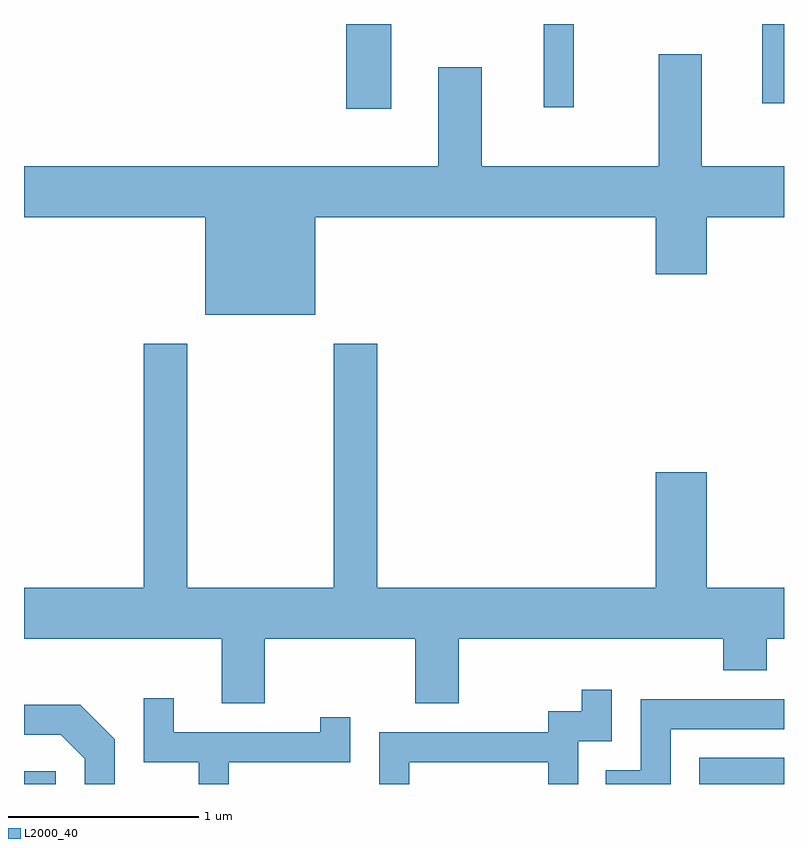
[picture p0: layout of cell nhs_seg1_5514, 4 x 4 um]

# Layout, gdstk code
import gdstk
lib = gdstk.Library(unit=1e-6, precision=1e-09)
def R(c, l, rs):  # rectangles x0, y0, x1, y1
    for r in rs: c.add(gdstk.rectangle(r[:2], r[2:], *l))
def P(c, l, *ps):  # polygons
    for p in ps: c.add(gdstk.Polygon(p, *l))
L2000_40 = (2000, 40)

nhs_seg1_5514 = lib.new_cell('nhs_seg1_5514')
R(nhs_seg1_5514, L2000_40, [(351.611,887.712,351.779,887.779), (355.166,887.712,355.611,887.849), (353.306,891.266,353.544,891.712), (354.346,891.273,354.504,891.712), (355.496,891.296,355.611,891.712)])
P(nhs_seg1_5514, L2000_40, [(353.144,890.696),(354.936,890.696),(354.936,890.396),(355.204,890.396),(355.204,890.696),(355.611,890.696),(355.611,890.964),(355.179,890.964),(355.179,891.554),(354.951,891.554),(354.951,890.964),(354.019,890.964),(354.019,891.484),(353.791,891.484),(353.791,890.964),(351.611,890.964),(351.611,890.696),(352.566,890.696),(352.566,890.181),(353.144,890.181)],
  [(352.879,888.476),(353.671,888.476),(353.671,888.136),(353.899,888.136),(353.899,888.476),(355.291,888.476),(355.291,888.311),(355.519,888.311),(355.519,888.476),(355.611,888.476),(355.611,888.744),(355.204,888.744),(355.204,889.354),(354.936,889.354),(354.936,888.744),(353.469,888.744),(353.469,890.029),(353.241,890.029),(353.241,888.744),(352.469,888.744),(352.469,890.029),(352.241,890.029),(352.241,888.744),(351.611,888.744),(351.611,888.476),(352.651,888.476),(352.651,888.136),(352.879,888.136)],
  [(353.639,887.826),(354.371,887.826),(354.371,887.712),(354.529,887.712),(354.529,887.936),(354.704,887.936),(354.704,888.208),(354.546,888.208),(354.546,888.094),(354.371,888.094),(354.371,887.984),(353.481,887.984),(353.481,887.712),(353.639,887.712)],
  [(352.689,887.826),(353.329,887.826),(353.329,888.063),(353.171,888.063),(353.171,887.984),(352.399,887.984),(352.399,888.163),(352.241,888.163),(352.241,887.826),(352.531,887.826),(352.531,887.712),(352.689,887.712)],
  [(355.014,888.001),(355.611,888.001),(355.611,888.159),(354.856,888.159),(354.856,887.784),(354.673,887.784),(354.673,887.712),(355.014,887.712)],
  [(352.089,887.947),(351.907,888.129),(351.611,888.129),(351.611,887.971),(351.804,887.971),(351.931,887.844),(351.931,887.712),(352.089,887.712)])

lib.write_gds('nhs_seg1_5514.gds')
